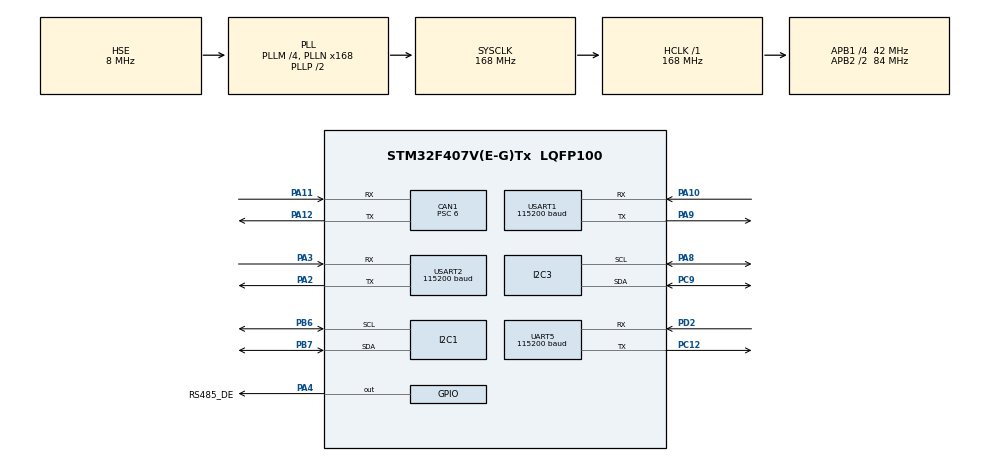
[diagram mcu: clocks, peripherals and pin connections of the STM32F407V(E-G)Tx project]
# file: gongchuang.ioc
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Mcu.Family=STM32F4
Mcu.Name=STM32F407V(E-G)Tx
Mcu.Package=LQFP100
NVIC.PriorityGroup=NVIC_PRIORITYGROUP_4
NVIC.DMA2_Stream2_IRQn=true\:5\:0\:false\:false\:true\:true\:true\:true
NVIC.USART1_IRQn=true\:5\:0\:false\:false\:true\:true\:true\:true
NVIC.USART2_IRQn=true\:5\:0\:false\:false\:true\:true\:true\:true
PA13.Mode=Serial_Wire
PA13.Signal=SYS_JTMS-SWDIO
PA14.Mode=Serial_Wire
PA14.Signal=SYS_JTCK-SWCLK
PA11.Mode=CAN_Activate
PA11.Signal=CAN1_RX
PA12.Mode=CAN_Activate
PA12.Signal=CAN1_TX
PA10.Mode=Asynchronous
PA10.Signal=USART1_RX
PA2.Mode=Asynchronous
PA2.Signal=USART2_TX
PA3.Mode=Asynchronous
PA3.Signal=USART2_RX
PA4.GPIO_Label=RS485_DE
PA4.Signal=GPIO_Output
PA8.Mode=I2C
PA8.Signal=I2C3_SCL
PA9.Mode=Asynchronous
PA9.Signal=USART1_TX
PB6.Mode=I2C
PB6.Signal=I2C1_SCL
PB7.Mode=I2C
PB7.Signal=I2C1_SDA
PC12.Mode=Asynchronous
PC12.Signal=UART5_TX
PC9.Mode=I2C
PC9.Signal=I2C3_SDA
PD2.Mode=Asynchronous
PD2.Signal=UART5_RX
PC14-OSC32_IN.Mode=LSE-External-Oscillator
PC14-OSC32_IN.Signal=RCC_OSC32_IN
PC15-OSC32_OUT.Mode=LSE-External-Oscillator
PC15-OSC32_OUT.Signal=RCC_OSC32_OUT
PH0-OSC_IN.Mode=HSE-External-Oscillator
PH0-OSC_IN.Signal=RCC_OSC_IN
PH1-OSC_OUT.Mode=HSE-External-Oscillator
PH1-OSC_OUT.Signal=RCC_OSC_OUT
ProjectManager.HeapSize=0x200
ProjectManager.StackSize=0x400
ProjectManager.TargetToolchain=CMake
RCC.48MHZClocksFreq_Value=48000000
RCC.AHBFreq_Value=168000000
RCC.APB1CLKDivider=RCC_HCLK_DIV4
RCC.APB1Freq_Value=42000000
RCC.APB1TimFreq_Value=84000000
RCC.APB2CLKDivider=RCC_HCLK_DIV2
RCC.APB2Freq_Value=84000000
RCC.APB2TimFreq_Value=168000000
RCC.CortexFreq_Value=168000000
RCC.HCLKFreq_Value=168000000
RCC.HSE_VALUE=8000000
RCC.HSI_VALUE=16000000
RCC.LSE_VALUE=32768
RCC.PLLM=4
RCC.PLLN=168
RCC.PLLSourceVirtual=RCC_PLLSOURCE_HSE
RCC.SYSCLKFreq_VALUE=168000000
RCC.SYSCLKSource=RCC_SYSCLKSOURCE_PLLCLK
RCC.VCOOutputFreq_Value=336000000
Dma.Request0=USART1_RX
Dma.USART1_RX.0.Direction=MEMORY
Dma.USART1_RX.0.Instance=DMA2_Stream2
Dma.USART1_RX.0.MemDataAlignment=BYTE
Dma.USART1_RX.0.MemInc=ENABLE
Dma.USART1_RX.0.Mode=CIRCULAR
Dma.USART1_RX.0.PeriphDataAlignment=BYTE
Dma.USART1_RX.0.PeriphInc=DISABLE
Dma.USART1_RX.0.Priority=HIGH
CAN1.BS1=CAN_BS1_4TQ
CAN1.BS2=CAN_BS2_2TQ
CAN1.CalculateBaudRate=1000000
CAN1.CalculateTimeBit=1000
CAN1.CalculateTimeQuantum=142.85714285714286
CAN1.Prescaler=6
I2C1.I2C_Mode=I2C_Fast
I2C3.I2C_Mode=I2C_Fast
USART1.BaudRate=115200
USART1.Parity=PARITY_NONE
USART1.StopBits=STOPBITS_1
USART1.VirtualMode-Asynchronous=VM_ASYNC
USART1.WordLength=WORDLENGTH_8B
USART2.BaudRate=115200
USART2.Parity=PARITY_NONE
USART2.StopBits=STOPBITS_1
USART2.VirtualMode-Asynchronous=VM_ASYNC
USART2.WordLength=WORDLENGTH_8B
UART5.BaudRate=115200
UART5.Parity=PARITY_NONE
UART5.StopBits=STOPBITS_1
UART5.VirtualMode-Asynchronous=VM_ASYNC
UART5.WordLength=WORDLENGTH_8B
board=custom

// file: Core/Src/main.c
/* USER CODE BEGIN Header */
/**
  ******************************************************************************
  * @file           : main.c
  * @brief          : Main program body
  ******************************************************************************
  * @attention
  *
  * Copyright (c) 2026 STMicroelectronics.
  * All rights reserved.
  *
  * This software is licensed under terms that can be found in the LICENSE file
  * in the root directory of this software component.
  * If no LICENSE file comes with this software, it is provided AS-IS.
  *
  ******************************************************************************
  */
/* USER CODE END Header */
#include "main.h"
#include "gpio.h"
#include "usart.h"
#include "dma.h"
#include "i2c.h"
#include "can.h"

/* USER CODE BEGIN Includes */
#include "app_imu.h"
#include "app_chassis.h"
#include "app_odom.h"
#include "app_pose.h"
#include "servo_bus.h"
#include "bsp_debug.h"
#include "app_action.h"
#include "user_plan.h"
/* USER CODE END Includes */

void SystemClock_Config(void);

/* USER CODE BEGIN 0 */

/*
 * 实际使用的时钟源：0 = HSE（板上晶振），1 = HSI（HSE 起不来时的回退）
 * 调试时可直接观察这个变量确认是否真的用上了晶振。
 */
volatile uint8_t g_clock_source = 0u;
volatile uint8_t g_hse_mhz      = 0u;   /* 实际用上的 HSE 频率 (MHz)，0 = 没用上晶振 */

/* USER CODE END 0 */

int main(void)
{

  /* MCU Configuration--------------------------------------------------------*/

  /* Reset of all peripherals, Initializes the Flash interface and the Systick. */
  HAL_Init();

  /* Configure the system clock */
  SystemClock_Config();

  /* Initialize all configured peripherals */
  MX_GPIO_Init();
  MX_DMA_Init();
  MX_I2C1_Init();
  MX_I2C3_Init();
  MX_CAN1_Init();
  MX_USART2_UART_Init();
  MX_USART1_UART_Init();
  MX_UART5_Init();
  /* USER CODE BEGIN 2 */
  {
    /* 上电先报时钟：clock=HSE(8MHz) 表示识别到 8MHz 晶振；HSI-fallback 表示晶振没识别出来 */
    Debug_Printf("[SYS] clock=%s(%uMHz) sysclk=%luHz pclk1=%luHz\r\n",
                 (g_clock_source == 0u) ? "HSE" : "HSI-fallback",
                 (unsigned)g_hse_mhz,
                 (unsigned long)HAL_RCC_GetHCLKFreq(),
                 (unsigned long)HAL_RCC_GetPCLK1Freq());
  }
  AppIMU_Init();
  AppOdom_Init();
  Pose_Init();             /* ★世界坐标：以当前里程计和朝向为零点 */
  ServoBus_Init();
  Chassis_Init();
  Act_Init();              /* ★动作层：原子动作接口 */
  Plan_Init();             /* ★你的规划初始化 */
  /* USER CODE END 2 */

  /* Infinite loop */
  while (1)
  {

    /* USER CODE BEGIN 3 */
    /* ---- 原有行为已停用 ----
     *   ServoArm_Poll();  示教 / 回放（servo_arm.c 已移出编译，源码在 App/_attic/）
     *   Chassis_Task() 的自动行为（航向保持 / 自动回原点）已在速度模式下不再生效
     */

    /* 传感器采样（保留：Pose 用的是它们的数据） */
    AppIMU_Update();
    AppOdom_Update();
    Pose_Update();           /* ★融合陀螺仪 → 世界坐标 */

    Chassis_Task();          /* ★底盘驱动：把速度指令变成 RS485 帧发出去（必须每拍调） */

    ServoBus_Poll();         /* ★收舵机位置回传，更新 Act_ArmAngle0..3 / Act_GripAngle */

    /* 动作层 + 你的规划 */
    Act_Task();
    Plan_Task();
  }
  /* USER CODE END 3 */
}

void SystemClock_Config(void)
{
  RCC_OscInitTypeDef RCC_OscInitStruct = {0};
  RCC_ClkInitTypeDef RCC_ClkInitStruct = {0};

  /** Configure the main internal regulator output voltage
  */
  __HAL_RCC_PWR_CLK_ENABLE();
  __HAL_PWR_VOLTAGESCALING_CONFIG(PWR_REGULATOR_VOLTAGE_SCALE1);

  /*
   * 目标：SYSCLK 168 MHz（HSE 8MHz + PLL：M=4 -> 2MHz，N=168 -> 336MHz，P=2 -> 168MHz）
   *       AHB = 168 MHz，APB1 = 42 MHz，APB2 = 84 MHz，Flash 5 等待周期
   * 为什么必须是 168MHz / APB1=42MHz：CAN 1Mbps 的位时序
   * （Prescaler 6, BS1 4TQ, BS2 2TQ）是按 APB1=42MHz 算的，
   * 时钟不对 CAN 波特率就不对，总线舵机不会应答。
   *
   * 优先用 HSE（外部晶振）；若晶振起不来（没焊/频率不符/HAL 超时），
   * 自动回退到 HSI 16MHz + 同样 PLL 参数，仍得到 168 MHz，
   * 避免板子因晶振问题直接卡死在 Error_Handler。
   */
  RCC_OscInitStruct.OscillatorType = RCC_OSCILLATORTYPE_HSE;
  RCC_OscInitStruct.HSEState = RCC_HSE_ON;
  RCC_OscInitStruct.PLL.PLLState = RCC_PLL_ON;
  RCC_OscInitStruct.PLL.PLLSource = RCC_PLLSOURCE_HSE;
  RCC_OscInitStruct.PLL.PLLM = 4;      /* 8MHz / 4 = 2MHz VCO 输入（与原项目一致） */
  RCC_OscInitStruct.PLL.PLLN = 168;
  RCC_OscInitStruct.PLL.PLLP = RCC_PLLP_DIV2;
  RCC_OscInitStruct.PLL.PLLQ = 7;

  /*
   * 按工程内《Schematic.pdf》：主芯片时钟晶振 X1 = 8MHz（配 22pF 电容）。
   * PLL 参数与原项目（可用版本）完全一致：
   *   PLLM = 4  -> VCO 输入 = 8MHz/4 = 2MHz（规格范围 1~2MHz 的中点，比 1MHz 更稳）
   *   PLLN = 168 -> VCO 输出 = 336MHz
   *   PLLP = 2   -> SYSCLK = 168MHz，APB1 = 42MHz（CAN 1Mbps 需要）
   */
  g_hse_mhz = 0u;
  if (HAL_RCC_OscConfig(&RCC_OscInitStruct) == HAL_OK)
  {
    g_hse_mhz = 8u;                 /* 按原理图：8MHz 晶振 */
  }

  g_clock_source = 0u;
  if (g_hse_mhz == 0u)
  {
    /* HSE 不可用：回退 HSI 16MHz，PLLM=8 -> VCO 输入 2MHz -> ×168 -> /2 = 168MHz */
    RCC_OscInitStruct.OscillatorType = RCC_OSCILLATORTYPE_HSI;
    RCC_OscInitStruct.HSIState = RCC_HSI_ON;
    RCC_OscInitStruct.HSICalibrationValue = RCC_HSICALIBRATION_DEFAULT;
    RCC_OscInitStruct.PLL.PLLState = RCC_PLL_ON;
    RCC_OscInitStruct.PLL.PLLSource = RCC_PLLSOURCE_HSI;
    RCC_OscInitStruct.PLL.PLLM = 8;
    RCC_OscInitStruct.PLL.PLLN = 168;
    RCC_OscInitStruct.PLL.PLLP = RCC_PLLP_DIV2;
    RCC_OscInitStruct.PLL.PLLQ = 7;
    if (HAL_RCC_OscConfig(&RCC_OscInitStruct) != HAL_OK)
    {
      Error_Handler();
    }
    g_clock_source = 1u;
  }

  RCC_ClkInitStruct.ClockType = RCC_CLOCKTYPE_HCLK|RCC_CLOCKTYPE_SYSCLK
                              |RCC_CLOCKTYPE_PCLK1|RCC_CLOCKTYPE_PCLK2;
  RCC_ClkInitStruct.SYSCLKSource = RCC_SYSCLKSOURCE_PLLCLK;
  RCC_ClkInitStruct.AHBCLKDivider = RCC_SYSCLK_DIV1;
  RCC_ClkInitStruct.APB1CLKDivider = RCC_HCLK_DIV4;
  RCC_ClkInitStruct.APB2CLKDivider = RCC_HCLK_DIV2;

  if (HAL_RCC_ClockConfig(&RCC_ClkInitStruct, FLASH_LATENCY_5) != HAL_OK)
  {
    Error_Handler();
  }

  /* 168MHz 下必须打开 Flash 预取与缓存，否则取指会被 Flash 拖慢 */
  __HAL_FLASH_INSTRUCTION_CACHE_ENABLE();
  __HAL_FLASH_DATA_CACHE_ENABLE();
  __HAL_FLASH_PREFETCH_BUFFER_ENABLE();
}

void Error_Handler(void)
{
  __disable_irq();
  while (1)
  {
  }
}
